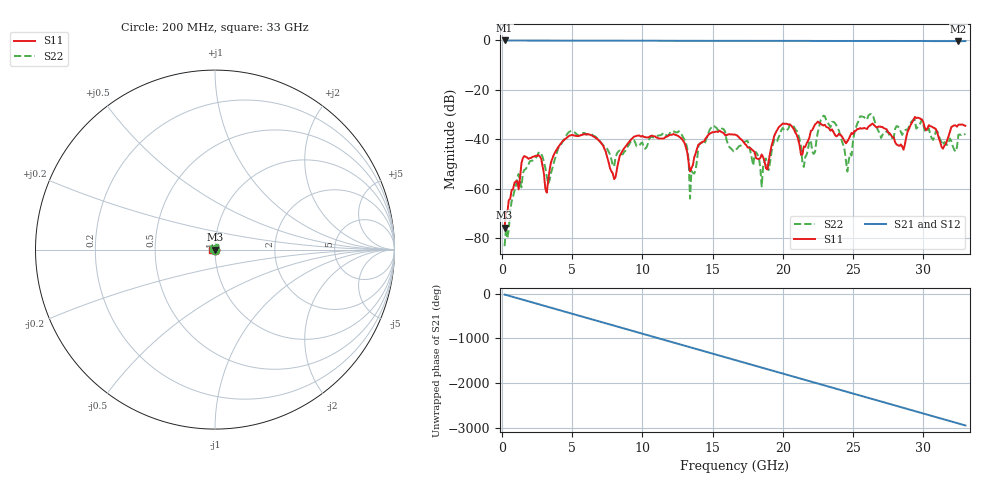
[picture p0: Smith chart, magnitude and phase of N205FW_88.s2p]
# GHZ S RI R 50
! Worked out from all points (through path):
!   329 points, 200 MHz to 33 GHz, reference 50 ohm
!   highest |S21| = -0.02 dB at 200 MHz (marker M1); lowest = -0.3 dB at 32.5 GHz (marker M2)
!   group delay of S21, straight-line fit = 248 ps
!   lowest |S11| = -75.6 dB at 200 MHz (marker M3), VSWR 1.00, Z = 50 - j0.00964 ohm
!   |S11| at or under -10 dB: start of sweep to end of sweep
!   |S22| runs from -83.1 to -29.7 dB; largest |S21 - S12| = 0.0022
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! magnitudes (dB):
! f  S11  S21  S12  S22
! 200 MHz  -75.6  0.0  0.0  -83.1
! 1.6 GHz  -46.7  0.0  0.0  -52.3
! 3.2 GHz  -61.5  -0.1  -0.1  -54.8
! 4 GHz  -43.2  -0.1  -0.1  -43.8
! 5.7 GHz  -38.2  -0.1  -0.1  -37.6
! 8 GHz  -56.0  -0.1  -0.1  -50.9
! 11.2 GHz  -39.7  -0.1  -0.1  -38.4
! 13 GHz  -41.3  -0.2  -0.2  -40.0
! 13.4 GHz  -53.0  -0.2  -0.2  -63.9
! 14 GHz  -42.1  -0.2  -0.2  -42.6
! 15 GHz  -37.1  -0.2  -0.2  -34.5
! 16.6 GHz  -38.0  -0.2  -0.2  -44.7
! 18.9 GHz  -52.2  -0.2  -0.2  -50.0
! 20.6 GHz  -34.4  -0.2  -0.2  -33.9
! 21.3 GHz  -46.3  -0.2  -0.2  -43.1
! 22.1 GHz  -36.2  -0.2  -0.2  -44.9
! 22.9 GHz  -34.3  -0.2  -0.2  -30.4
! 24.6 GHz  -40.7  -0.2  -0.2  -53.0
! 25.5 GHz  -35.4  -0.2  -0.2  -30.7
! 27.6 GHz  -37.5  -0.2  -0.2  -38.6
! 32.5 GHz  -34.1  -0.3  -0.3  -38.1
! 33 GHz  -34.5  -0.3  -0.3  -37.7
